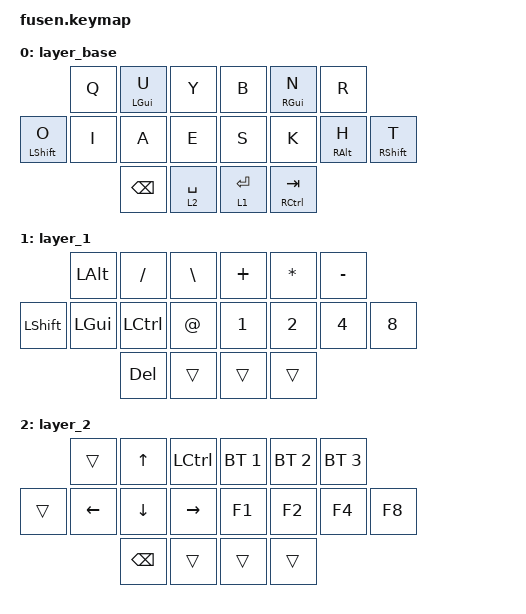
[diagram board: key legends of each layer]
#include <dt-bindings/zmk/mouse.h>
#include <behaviors.dtsi>
#include <dt-bindings/zmk/bt.h>
#include <dt-bindings/zmk/keys.h>

// 特殊な入力法

&mt {
    flavor = "tap-preferred";
    tapping-term-ms = <225>;
    quick-tap-ms = <200>;
    require-prior-idle-ms = <150>;
};

&lt {
    flavor = "balanced";
    tapping-term-ms = <175>;
    quick-tap-ms = <200>;
};

&sk {
};

&sl {
};

&caps_word {
};

&key_repeat {
};

/ {
    combos {
        compatible = "zmk,combos";
        timeout-ms = <100>;
        require-prior-idle-ms = <150>;

        combo_lang2 {
            key-positions = <7 8 9>;
            bindings = <&kp LANG2>;
            layers = <0>;
        };

        combo_lang1 {
            key-positions = <10 11 12>;
            bindings = <&kp LANG1>;
            layers = <0>;
        };

        combo_comma {
            key-positions = <10 16>;
            bindings = <&kp COMMA>;
            layers = <0 1>;
        };

        combo_period {
            key-positions = <11 16>;
            bindings = <&kp PERIOD>;
            layers = <0 1>;
        };

        combo_esc {
            key-positions = <0 6>;
            bindings = <&kp ESC>;
        };

        combo_q {
            bindings = <&kp Q>;
            key-positions = <0 2>;
            layers = <0>;
        };

        combo_x {
            bindings = <&kp X>;
            key-positions = <1 2>;
            layers = <0>;
        };

        combo_l {
            bindings = <&kp L>;
            key-positions = <3 5>;
            layers = <0>;
        };

        combo_p {
            bindings = <&kp P>;
            key-positions = <3 4>;
            layers = <0>;
        };

        combo_m {
            bindings = <&kp M>;
            key-positions = <4 5>;
            layers = <0>;
        };

        combo_j {
            bindings = <&kp J>;
            key-positions = <5 13>;
            layers = <0>;
        };

        combo_c {
            bindings = <&kp C>;
            key-positions = <7 8>;
            layers = <0>;
        };

        combo_v {
            bindings = <&kp V>;
            key-positions = <8 9>;
            layers = <0>;
        };

        combo_w {
            bindings = <&kp W>;
            key-positions = <10 12>;
            layers = <0>;
        };

        combo_z {
            bindings = <&kp Z>;
            key-positions = <10 11>;
            layers = <0>;
        };

        combo_g {
            bindings = <&kp G>;
            key-positions = <11 12>;
            layers = <0>;
        };

        combo_d {
            bindings = <&kp D>;
            key-positions = <12 13>;
            layers = <0>;
        };

        minus {
            bindings = <&kp MINUS>;
            key-positions = <16 10 11>;
            layers = <0>;
        };

        combo_lbkt {
            bindings = <&kp LBKT>;
            key-positions = <2 15>;
            layers = <0>;
        };

        combo_rbkt {
            bindings = <&kp RBKT>;
            key-positions = <3 16>;
            layers = <0>;
        };

        combo_n3 {
            bindings = <&kp N3>;
            key-positions = <10 11>;
            layers = <1>;
        };

        combo_n5 {
            bindings = <&kp N5>;
            key-positions = <10 12>;
            layers = <1>;
        };

        combo_n6 {
            bindings = <&kp N6>;
            key-positions = <11 12>;
            layers = <1>;
        };

        combo_n7 {
            bindings = <&kp N7>;
            key-positions = <10 11 12>;
            layers = <1>;
        };

        combo_n9 {
            bindings = <&kp N9>;
            key-positions = <10 13>;
            layers = <1>;
        };

        combo_n0 {
            bindings = <&kp N0>;
            key-positions = <11 13>;
            layers = <1>;
        };

        combo_f3 {
            bindings = <&kp F3>;
            key-positions = <10 11>;
            layers = <2>;
        };

        combo_f5 {
            bindings = <&kp F5>;
            key-positions = <10 12>;
            layers = <2>;
        };

        combo_f6 {
            bindings = <&kp F6>;
            key-positions = <11 12>;
            layers = <2>;
        };

        combo_f7 {
            bindings = <&kp F7>;
            key-positions = <10 11 12>;
            layers = <2>;
        };

        combo_f9 {
            bindings = <&kp F9>;
            key-positions = <10 13>;
            layers = <2>;
        };

        combo_f10 {
            bindings = <&kp F10>;
            key-positions = <11 13>;
            layers = <2>;
        };

        combo_f11 {
            bindings = <&kp F11>;
            key-positions = <10 11 13>;
            layers = <2>;
        };

        combo_f12 {
            bindings = <&kp F12>;
            key-positions = <12 13>;
            layers = <2>;
        };

        combo_question {
            bindings = <&kp QUESTION>;
            key-positions = <16 12>;
            layers = <0>;
        };

        combo_exc {
            bindings = <&kp EXCLAMATION>;
            key-positions = <16 13>;
            layers = <0>;
        };

        combo_caret {
            bindings = <&kp CARET>;
            key-positions = <10 4 12>;
            layers = <1>;
        };
    };

    keymap {
        compatible = "zmk,keymap";

        layer_base {
            bindings = <
              &kp Q  &mt LGUI U  &kp Y          &kp B      &mt RGUI N     &kp R
&mt LSHIFT O  &kp I  &kp A       &kp E          &kp S      &kp K          &mt RALT H  &mt RSHIFT T
                     &kp BSPC    &lt 2 SPACE    &lt 1 RET  &mt RCTRL TAB
            >;
        };

        layer_1 {
            bindings = <
            &kp LEFT_ALT  &kp FSLH   &kp BSLH       &kp PLUS  &kp STAR  &kp MINUS
&kp LSHIFT  &kp LEFT_GUI  &kp LCTRL  &kp AT_SIGN    &kp N1    &kp N2    &kp N4     &kp N8
                          &kp DEL    &trans         &trans    &trans
            >;
        };

        layer_2 {
            bindings = <
        &trans    &kp UP         &kp LCTRL    &bt BT_SEL 1  &bt BT_SEL 2  &bt BT_SEL 3
&trans  &kp LEFT  &kp DOWN       &kp RIGHT    &kp F1        &kp F2        &kp F4        &kp F8
                  &kp BACKSPACE  &trans       &trans        &trans
            >;
        };
    };
};
